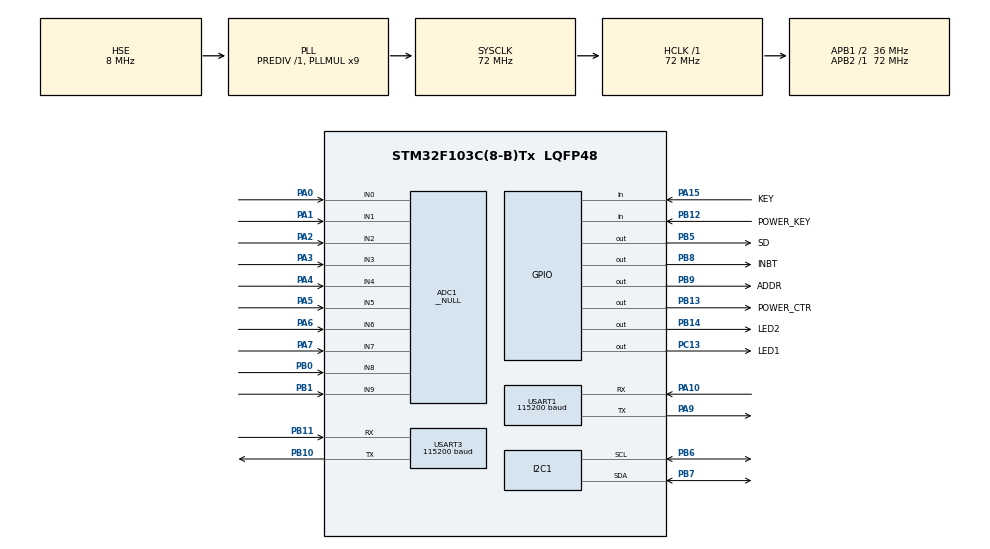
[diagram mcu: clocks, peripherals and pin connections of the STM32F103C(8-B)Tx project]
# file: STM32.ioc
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ADC1.Channel-0\#ChannelRegularConversion=ADC_CHANNEL_0
ADC1.Channel-1\#ChannelRegularConversion=ADC_CHANNEL_1
ADC1.Channel-2\#ChannelRegularConversion=ADC_CHANNEL_2
ADC1.Channel-3\#ChannelRegularConversion=ADC_CHANNEL_3
ADC1.Channel-4\#ChannelRegularConversion=ADC_CHANNEL_4
ADC1.Channel-5\#ChannelRegularConversion=ADC_CHANNEL_5
ADC1.Channel-6\#ChannelRegularConversion=ADC_CHANNEL_6
ADC1.Channel-7\#ChannelRegularConversion=ADC_CHANNEL_7
ADC1.Channel-8\#ChannelRegularConversion=ADC_CHANNEL_8
ADC1.Channel-9\#ChannelRegularConversion=ADC_CHANNEL_9
ADC1.ContinuousConvMode=ENABLE
ADC1.DiscontinuousConvMode=DISABLE
ADC1.Mode=__NULL
ADC1.NbrOfConversion=10
ADC1.NbrOfConversionFlag=1
ADC1.Rank-0\#ChannelRegularConversion=1
ADC1.Rank-1\#ChannelRegularConversion=2
ADC1.Rank-2\#ChannelRegularConversion=3
ADC1.Rank-3\#ChannelRegularConversion=4
ADC1.Rank-4\#ChannelRegularConversion=5
ADC1.Rank-5\#ChannelRegularConversion=6
ADC1.Rank-6\#ChannelRegularConversion=7
ADC1.Rank-7\#ChannelRegularConversion=8
ADC1.Rank-8\#ChannelRegularConversion=9
ADC1.Rank-9\#ChannelRegularConversion=10
ADC1.SamplingTime-0\#ChannelRegularConversion=ADC_SAMPLETIME_239CYCLES_5
ADC1.SamplingTime-1\#ChannelRegularConversion=ADC_SAMPLETIME_239CYCLES_5
ADC1.SamplingTime-2\#ChannelRegularConversion=ADC_SAMPLETIME_239CYCLES_5
ADC1.SamplingTime-3\#ChannelRegularConversion=ADC_SAMPLETIME_239CYCLES_5
ADC1.SamplingTime-4\#ChannelRegularConversion=ADC_SAMPLETIME_239CYCLES_5
ADC1.SamplingTime-5\#ChannelRegularConversion=ADC_SAMPLETIME_239CYCLES_5
ADC1.SamplingTime-6\#ChannelRegularConversion=ADC_SAMPLETIME_239CYCLES_5
ADC1.SamplingTime-7\#ChannelRegularConversion=ADC_SAMPLETIME_239CYCLES_5
ADC1.SamplingTime-8\#ChannelRegularConversion=ADC_SAMPLETIME_239CYCLES_5
ADC1.SamplingTime-9\#ChannelRegularConversion=ADC_SAMPLETIME_239CYCLES_5
ADC1.master=1
Dma.ADC1.2.Direction=DMA_PERIPH_TO_MEMORY
Dma.ADC1.2.Instance=DMA1_Channel1
Dma.ADC1.2.MemDataAlignment=DMA_MDATAALIGN_HALFWORD
Dma.ADC1.2.MemInc=DMA_MINC_ENABLE
Dma.ADC1.2.Mode=DMA_CIRCULAR
Dma.ADC1.2.PeriphDataAlignment=DMA_PDATAALIGN_HALFWORD
Dma.ADC1.2.PeriphInc=DMA_PINC_DISABLE
Dma.ADC1.2.Priority=DMA_PRIORITY_HIGH
Dma.Request0=USART1_TX
Dma.Request1=USART3_TX
Dma.Request2=ADC1
Dma.USART1_TX.0.Direction=DMA_MEMORY_TO_PERIPH
Dma.USART1_TX.0.Instance=DMA1_Channel4
Dma.USART1_TX.0.MemDataAlignment=DMA_MDATAALIGN_BYTE
Dma.USART1_TX.0.MemInc=DMA_MINC_ENABLE
Dma.USART1_TX.0.Mode=DMA_NORMAL
Dma.USART1_TX.0.PeriphDataAlignment=DMA_PDATAALIGN_BYTE
Dma.USART1_TX.0.PeriphInc=DMA_PINC_DISABLE
Dma.USART1_TX.0.Priority=DMA_PRIORITY_HIGH
Dma.USART3_TX.1.Direction=DMA_MEMORY_TO_PERIPH
Dma.USART3_TX.1.Instance=DMA1_Channel2
Dma.USART3_TX.1.MemDataAlignment=DMA_MDATAALIGN_BYTE
Dma.USART3_TX.1.MemInc=DMA_MINC_ENABLE
Dma.USART3_TX.1.Mode=DMA_NORMAL
Dma.USART3_TX.1.PeriphDataAlignment=DMA_PDATAALIGN_BYTE
Dma.USART3_TX.1.PeriphInc=DMA_PINC_DISABLE
Dma.USART3_TX.1.Priority=DMA_PRIORITY_HIGH
FREERTOS.Tasks01=defaultTask,24,128,StartDefaultTask,Default,NULL,Dynamic,NULL,NULL
FREERTOS.configTOTAL_HEAP_SIZE=10240
I2C1.I2C_Mode=I2C_Fast
Mcu.Family=STM32F1
Mcu.Name=STM32F103C(8-B)Tx
Mcu.Package=LQFP48
NVIC.ADC1_2_IRQn=true\:5\:0\:false\:false\:true\:true\:true\:true\:true
NVIC.DMA1_Channel1_IRQn=true\:5\:0\:false\:false\:true\:true\:false\:true\:true
NVIC.DMA1_Channel2_IRQn=true\:5\:0\:false\:false\:true\:true\:false\:true\:true
NVIC.DMA1_Channel4_IRQn=true\:5\:0\:false\:false\:true\:true\:false\:true\:true
NVIC.I2C1_ER_IRQn=true\:5\:0\:false\:false\:true\:true\:true\:true\:true
NVIC.I2C1_EV_IRQn=true\:5\:0\:false\:false\:true\:true\:true\:true\:true
NVIC.PriorityGroup=NVIC_PRIORITYGROUP_4
NVIC.TIM1_UP_IRQn=true\:15\:0\:false\:false\:true\:false\:false\:true\:true
NVIC.TimeBase=TIM1_UP_IRQn
NVIC.TimeBaseIP=TIM1
NVIC.USART1_IRQn=true\:5\:0\:false\:false\:true\:true\:false\:true\:true
NVIC.USART3_IRQn=true\:5\:0\:false\:false\:true\:true\:false\:true\:true
PA0-WKUP.Signal=ADCx_IN0
PA1.Signal=ADCx_IN1
PA10.Mode=Asynchronous
PA10.Signal=USART1_RX
PA13.Mode=Serial_Wire
PA13.Signal=SYS_JTMS-SWDIO
PA14.Mode=Serial_Wire
PA14.Signal=SYS_JTCK-SWCLK
PA15.GPIO_Label=KEY
PA15.Signal=GPIO_Input
PA2.Signal=ADCx_IN2
PA3.Signal=ADCx_IN3
PA4.Signal=ADCx_IN4
PA5.Signal=ADCx_IN5
PA6.Signal=ADCx_IN6
PA7.Signal=ADCx_IN7
PA9.Mode=Asynchronous
PA9.Signal=USART1_TX
PB0.Signal=ADCx_IN8
PB1.Signal=ADCx_IN9
PB10.Mode=Asynchronous
PB10.Signal=USART3_TX
PB11.Mode=Asynchronous
PB11.Signal=USART3_RX
PB12.GPIO_Label=POWER_KEY
PB12.Signal=GPIO_Input
PB13.GPIO_Label=POWER_CTR
PB13.PinState=GPIO_PIN_SET
PB13.Signal=GPIO_Output
PB14.GPIO_Label=LED2
PB14.GPIO_Speed=GPIO_SPEED_FREQ_HIGH
PB14.Signal=GPIO_Output
PB5.GPIO_Label=SD
PB5.GPIO_ModeDefaultOutputPP=GPIO_MODE_OUTPUT_PP
PB5.GPIO_PuPd=GPIO_NOPULL
PB5.GPIO_Speed=GPIO_SPEED_FREQ_HIGH
PB5.Signal=GPIO_Output
PB6.Mode=I2C
PB6.Signal=I2C1_SCL
PB7.Mode=I2C
PB7.Signal=I2C1_SDA
PB8.GPIO_Label=INBT
PB8.Signal=GPIO_Output
PB9.GPIO_Label=ADDR
PB9.Signal=GPIO_Output
PC13-TAMPER-RTC.GPIO_Label=LED1
PC13-TAMPER-RTC.GPIO_Speed=GPIO_SPEED_FREQ_LOW
PC13-TAMPER-RTC.Signal=GPIO_Output
PD0-OSC_IN.Mode=HSE-External-Oscillator
PD0-OSC_IN.Signal=RCC_OSC_IN
PD1-OSC_OUT.Mode=HSE-External-Oscillator
PD1-OSC_OUT.Signal=RCC_OSC_OUT
ProjectManager.HeapSize=0x200
ProjectManager.StackSize=0x400
ProjectManager.TargetToolchain=MDK-ARM V5.32
RCC.ADCPresc=RCC_ADCPCLK2_DIV6
RCC.AHBFreq_Value=72000000
RCC.APB1CLKDivider=RCC_HCLK_DIV2
RCC.APB1Freq_Value=36000000
RCC.APB1TimFreq_Value=72000000
RCC.APB2Freq_Value=72000000
RCC.APB2TimFreq_Value=72000000
RCC.HCLKFreq_Value=72000000
RCC.PLLMUL=RCC_PLL_MUL9
RCC.PLLSourceVirtual=RCC_PLLSOURCE_HSE
RCC.SYSCLKFreq_VALUE=72000000
RCC.SYSCLKSource=RCC_SYSCLKSOURCE_PLLCLK
RCC.USBFreq_Value=72000000
SH.ADCx_IN0.0=ADC1_IN0,IN0
SH.ADCx_IN1.0=ADC1_IN1,IN1
SH.ADCx_IN2.0=ADC1_IN2,IN2
SH.ADCx_IN3.0=ADC1_IN3,IN3
SH.ADCx_IN4.0=ADC1_IN4,IN4
SH.ADCx_IN5.0=ADC1_IN5,IN5
SH.ADCx_IN6.0=ADC1_IN6,IN6
SH.ADCx_IN7.0=ADC1_IN7,IN7
SH.ADCx_IN8.0=ADC1_IN8,IN8
SH.ADCx_IN9.0=ADC1_IN9,IN9
TIM3.Period=500
TIM3.Prescaler=7199
TIM4.Period=100
TIM4.Prescaler=7199
USART1.BaudRate=115200
USART1.VirtualMode=VM_ASYNC
USART3.BaudRate=115200
USART3.VirtualMode=VM_ASYNC
VP_FREERTOS_VS_CMSIS_V2.Mode=CMSIS_V2
VP_SYS_VS_tim1.Mode=TIM1
VP_TIM3_VS_ClockSourceINT.Mode=Internal
VP_TIM4_VS_ClockSourceINT.Mode=Internal
board=custom

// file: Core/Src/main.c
/* USER CODE BEGIN Header */
/**
  ******************************************************************************
  * @file           : main.c
  * @brief          : Main program body
  ******************************************************************************
  * @attention
  *
  * Copyright (c) 2024 STMicroelectronics.
  * All rights reserved.
  *
  * This software is licensed under terms that can be found in the LICENSE file
  * in the root directory of this software component.
  * If no LICENSE file comes with this software, it is provided AS-IS.
  *
  ******************************************************************************
  */
/* USER CODE END Header */
#include "main.h"
#include "cmsis_os.h"
#include "adc.h"
#include "dma.h"
#include "i2c.h"
#include "tim.h"
#include "usart.h"
#include "gpio.h"

/* USER CODE BEGIN Includes */
#include "FDC2214.h"
#include <stdarg.h>
/* USER CODE END Includes */

/* USER CODE BEGIN PV */

extern uint32_t ch0,ch1,ch2,ch3;
extern double c0,c1,c2,c3;

float a[10]={0};
/* USER CODE END PV */

void SystemClock_Config(void);
void MX_FREERTOS_Init(void);
/* USER CODE BEGIN PFP */
void FDC2214_GetData(void);
void FDC2214_GetCap(void);
void FDC2214_GetFrequence(void);
void printf_DMA(const char *format,...);
/* USER CODE END PFP */

int main(void)
{

  /* MCU Configuration--------------------------------------------------------*/

  /* Reset of all peripherals, Initializes the Flash interface and the Systick. */
  HAL_Init();

  /* Configure the system clock */
  SystemClock_Config();

  /* Initialize all configured peripherals */
  MX_GPIO_Init();
  MX_DMA_Init();
  MX_ADC1_Init();
  MX_I2C1_Init();
  MX_USART1_UART_Init();
  MX_USART3_UART_Init();
  MX_TIM3_Init();
  MX_TIM4_Init();
  /* USER CODE BEGIN 2 */
	FDC2214_Init();
	//HAL_ADC_Start_DMA(&hadc1, (uint32_t*)&ADC_Buffer, 10);
  /* USER CODE END 2 */

  /* Init scheduler */
  osKernelInitialize();

  /* Call init function for freertos objects (in cmsis_os2.c) */
  MX_FREERTOS_Init();

  /* Start scheduler */
  osKernelStart();

  /* We should never get here as control is now taken by the scheduler */

  /* Infinite loop */
  while (1)
  {

  }
}

void SystemClock_Config(void)
{
  RCC_OscInitTypeDef RCC_OscInitStruct = {0};
  RCC_ClkInitTypeDef RCC_ClkInitStruct = {0};
  RCC_PeriphCLKInitTypeDef PeriphClkInit = {0};

  /** Initializes the RCC Oscillators according to the specified parameters
  * in the RCC_OscInitTypeDef structure.
  */
  RCC_OscInitStruct.OscillatorType = RCC_OSCILLATORTYPE_HSE;
  RCC_OscInitStruct.HSEState = RCC_HSE_ON;
  RCC_OscInitStruct.HSEPredivValue = RCC_HSE_PREDIV_DIV1;
  RCC_OscInitStruct.HSIState = RCC_HSI_ON;
  RCC_OscInitStruct.PLL.PLLState = RCC_PLL_ON;
  RCC_OscInitStruct.PLL.PLLSource = RCC_PLLSOURCE_HSE;
  RCC_OscInitStruct.PLL.PLLMUL = RCC_PLL_MUL9;
  if (HAL_RCC_OscConfig(&RCC_OscInitStruct) != HAL_OK)
  {
    Error_Handler();
  }

  /** Initializes the CPU, AHB and APB buses clocks
  */
  RCC_ClkInitStruct.ClockType = RCC_CLOCKTYPE_HCLK|RCC_CLOCKTYPE_SYSCLK
                              |RCC_CLOCKTYPE_PCLK1|RCC_CLOCKTYPE_PCLK2;
  RCC_ClkInitStruct.SYSCLKSource = RCC_SYSCLKSOURCE_PLLCLK;
  RCC_ClkInitStruct.AHBCLKDivider = RCC_SYSCLK_DIV1;
  RCC_ClkInitStruct.APB1CLKDivider = RCC_HCLK_DIV2;
  RCC_ClkInitStruct.APB2CLKDivider = RCC_HCLK_DIV1;

  if (HAL_RCC_ClockConfig(&RCC_ClkInitStruct, FLASH_LATENCY_2) != HAL_OK)
  {
    Error_Handler();
  }
  PeriphClkInit.PeriphClockSelection = RCC_PERIPHCLK_ADC;
  PeriphClkInit.AdcClockSelection = RCC_ADCPCLK2_DIV6;
  if (HAL_RCCEx_PeriphCLKConfig(&PeriphClkInit) != HAL_OK)
  {
    Error_Handler();
  }
}

/* USER CODE BEGIN 4 */

uint8_t _dbg_Buff[256];
void printf_DMA(const char *format,...)
{
    uint32_t length;
    va_list args;

    va_start(args, format);
    length = vsnprintf((char*)_dbg_Buff, sizeof(_dbg_Buff), (char*)format, args); // 保证不超出缓冲区
    va_end(args);

    // 先检查DMA是否空闲，防止上一次传输未完成时再次启动
    if (HAL_UART_GetState(&huart1) == HAL_UART_STATE_READY)
    {
        HAL_UART_Transmit_DMA(&huart1, _dbg_Buff, length);
    }
    else
    {
        // 这里可以处理传输未完成的情况，比如记录错误或丢弃数据
    }
}

/* USER CODE END 4 */

void HAL_TIM_PeriodElapsedCallback(TIM_HandleTypeDef *htim)
{
  if (htim->Instance == TIM1) {
    HAL_IncTick();
  }
}

void Error_Handler(void)
{
  __disable_irq();
  while (1)
  {
  }
}

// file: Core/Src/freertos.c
/* USER CODE BEGIN Header */
/**
  ******************************************************************************
  * File Name          : freertos.c
  * Description        : Code for freertos applications
  ******************************************************************************
  * @attention
  *
  * Copyright (c) 2024 STMicroelectronics.
  * All rights reserved.
  *
  * This software is licensed under terms that can be found in the LICENSE file
  * in the root directory of this software component.
  * If no LICENSE file comes with this software, it is provided AS-IS.
  *
  ******************************************************************************
  */
/* USER CODE END Header */

#include "FreeRTOS.h"
#include "task.h"
#include "main.h"
#include "cmsis_os.h"

/* USER CODE BEGIN Includes */
#include "semphr.h"
#include "queue.h"
#include "event_groups.h"
#include "adc.h"
#include "key.h"
#include "FDC2214.h"
#include "usart.h"

/* USER CODE END Includes */

/* USER CODE BEGIN PM */
QueueHandle_t xQueueADC;
QueueHandle_t xQueueCap;
EventGroupHandle_t xEventGroup;
SemaphoreHandle_t xI2CMutex;
SemaphoreHandle_t xADCSemaphore;
SemaphoreHandle_t xUARTSemaphore;
SemaphoreHandle_t xUARTMutex;

BaseType_t xReturn;

/* Task Handles */
TaskHandle_t xADCTaskHandle = NULL;
TaskHandle_t xFDC2214TaskHandle = NULL;
TaskHandle_t xUARTTaskHandle = NULL;
TaskHandle_t xKeyTaskHandle = NULL;

/* USER CODE END PM */

/* Definitions for defaultTask */
osThreadId_t defaultTaskHandle;
const osThreadAttr_t defaultTask_attributes = {
  .name = "defaultTask",
  .stack_size = 128 * 4,
  .priority = (osPriority_t) osPriorityNormal,
};

void StartDefaultTask(void *argument);

void MX_FREERTOS_Init(void); /* (MISRA C 2004 rule 8.1) */

void MX_FREERTOS_Init(void) {
  /* USER CODE BEGIN Init */

	/* Create event group */
	xEventGroup = xEventGroupCreate();

  /* USER CODE END Init */

  /* USER CODE BEGIN RTOS_MUTEX */
  /* add mutexes, ... */

	xI2CMutex = xSemaphoreCreateMutex();
	if (xI2CMutex == NULL)
	{
			/* Handle mutex creation failure */
	}
	 // Creating a UART Mutex
	xUARTMutex = xSemaphoreCreateMutex();
	if (xUARTMutex == NULL)
	{
			printf("Failed to create UART Mutex.\n");
			while (1);
	}

  /* USER CODE END RTOS_MUTEX */

  /* USER CODE BEGIN RTOS_SEMAPHORES */
  /* add semaphores, ... */
	xADCSemaphore = xSemaphoreCreateBinary();
	if (xADCSemaphore == NULL)
	{
			/* Handle semaphore creation failure */
	}
	xUARTSemaphore = xSemaphoreCreateBinary();
	if (xUARTSemaphore == NULL)
	{
			/* Handle semaphore creation failure */
	}
  /* USER CODE END RTOS_SEMAPHORES */

  /* USER CODE BEGIN RTOS_QUEUES */

  /* add queues, ... */
	  xQueueADC = xQueueCreate(10, sizeof(ADC_Data_t)); // Queue length: 10
    xQueueCap = xQueueCreate(10, sizeof(Cap_Data_t));

  /* USER CODE END RTOS_QUEUES */

  /* Create the thread(s) */
  /* creation of defaultTask */
  defaultTaskHandle = osThreadNew(StartDefaultTask, NULL, &defaultTask_attributes);

  /* USER CODE BEGIN RTOS_THREADS */
  /* add threads, ... */
	/* ���� UART ���� */
	xReturn = xTaskCreate(UART_Task, "UART_Task", 256, NULL, 2, &xUARTTaskHandle);
	if(xReturn != pdPASS)
	{
		printf("UART_Task Failed");
			// �������񴴽�ʧ��
			while(1);
	}

	/* ���� ADC ���� */
	xReturn = xTaskCreate(ADC_Task, "ADC_Task", 256, NULL, 3, &xADCTaskHandle);
	if(xReturn != pdPASS)
	{
		printf("ADC_Task Failed");
			// �������񴴽�ʧ��
			while(1);
	}

	/* �������ݼ������ */
	xReturn = xTaskCreate(FDC2214_Task, "FDC2214_Task", 256, NULL, 3, &xFDC2214TaskHandle);
	if(xReturn != pdPASS)
	{
		printf("FDC2214_Task Failed");
			// �������񴴽�ʧ��
			while(1);
	}

	/* ������������ */
	xReturn = xTaskCreate(Key_Task, "Key_Task", 256, NULL, 4, &xKeyTaskHandle);
	if(xReturn != pdPASS)
	{
		printf("Key_Task Failed");
			// �������񴴽�ʧ��
			while(1);
	}
  /* USER CODE END RTOS_THREADS */

}

void StartDefaultTask(void *argument)
{
  for(;;)
  {
    osDelay(1);
  }
}
